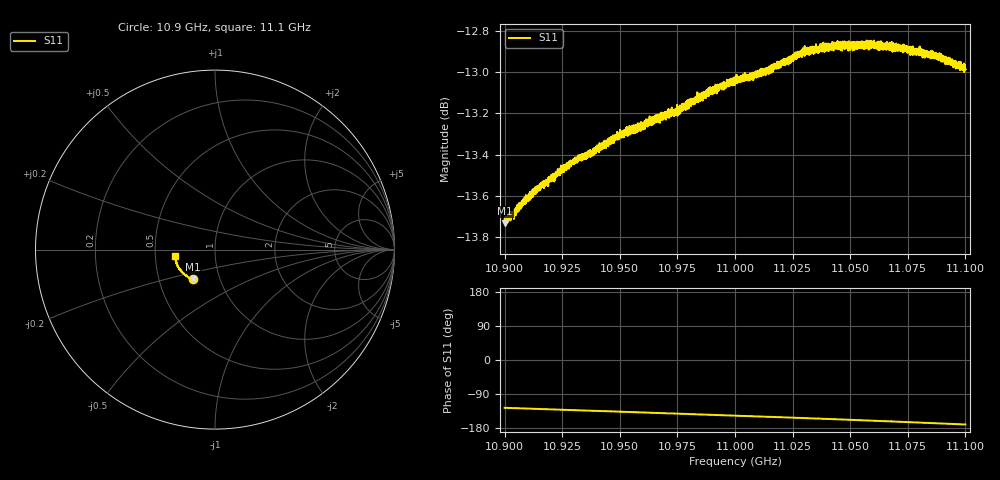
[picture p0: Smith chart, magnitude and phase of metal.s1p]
[Version] 2.0
! Rohde & Schwarz Vector Network Analyzer
! Rohde-Schwarz,ZNL20-2Port,1323001220200009,1.71.1.10-23.02.1.238
! Port Assignments:
! Nominal Port -> Actual Test Port
!  1 -> 1
! Created: GMT 2024-09-05 14:41:02
# Hz S DB R 50
[Number of Ports] 1
! freq[Hz]  S11[mag dB]  S11[ang]
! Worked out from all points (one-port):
!   10001 points, 10.9 GHz to 11.1 GHz, reference 50 ohm
!   lowest |S11| = -13.7 dB at 10.9 GHz (marker M1), VSWR 1.52, Z = 37.3 - j12.9 ohm
!   |S11| at or under -10 dB: start of sweep to end of sweep
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[Number of Frequencies] 28
[Network Data]
1.09e10  -13.73 -126.2
1.090024e10  -13.73 -126.2
1.090396e10  -13.70 -126.9
1.091244e10  -13.58 -128.6
1.0925e10  -13.47 -131.3
1.093016e10  -13.44 -132.4
1.093824e10  -13.39 -134.0
1.095e10  -13.31 -136.3
1.095668e10  -13.27 -137.8
1.096602e10  -13.22 -139.8
1.097178e10  -13.19 -141.0
1.0975e10  -13.19 -141.5
1.09829e10  -13.12 -143.3
1.098872e10  -13.10 -144.5
1.1e10  -13.03 -146.9
1.101226e10  -13.01 -149.4
1.101862e10  -12.96 -150.8
1.102278e10  -12.94 -151.6
1.1025e10  -12.93 -152.2
1.103002e10  -12.89 -153.3
1.1039e10  -12.88 -155.2
1.105e10  -12.87 -157.9
1.106254e10  -12.89 -160.8
1.1075e10  -12.90 -163.9
1.108704e10  -12.93 -166.9
1.109604e10  -12.96 -169.2
1.10991e10  -12.96 -170.0
1.11e10  -12.99 -170.2
[End]
